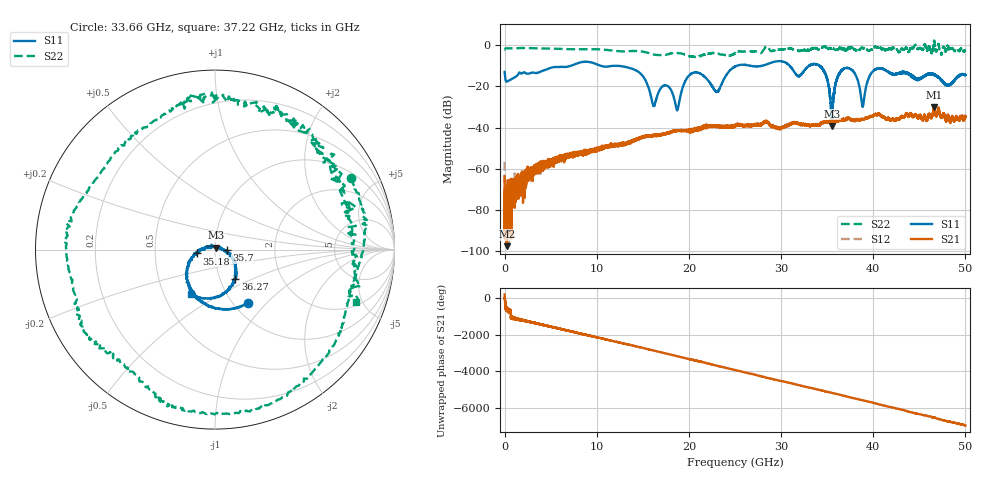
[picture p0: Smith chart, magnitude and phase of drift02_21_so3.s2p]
!Created with skrf (http://scikit-rf.org).
# Hz S RI R 50.0
!freq ReS11 ImS11 ReS21 ImS21 ReS12 ImS12 ReS22 ImS22
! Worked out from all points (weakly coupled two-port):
!   10001 points, 300 kHz to 50 GHz, reference 50 ohm
!   highest |S21| = -30.18 dB at 46.61 GHz (marker M1); lowest = -97.7 dB at 235.3 MHz (marker M2)
!   lowest |S11| = -39.2 dB at 35.51 GHz (marker M3), VSWR 1.02, Z = 50.4 + j1.03 ohm
!   |S11| at or under -10 dB: start of sweep to 7.176 GHz; 12.33 GHz to 25.17 GHz (12.85 GHz wide, 68.5 % of centre); 34.21 GHz to end of sweep (the widest 3 of 18)
!   |S22| runs from -5.7 to 2.4 dB; largest |S21 - S12| = 0.0032
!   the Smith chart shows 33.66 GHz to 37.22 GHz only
!   S11 on the Smith chart (normalised r, x): 33.66 GHz: 1.17, -0.79; 35.18 GHz: 0.82, -0.04; 35.7 GHz: 1.14, -0.01; 36.27 GHz: 1.18, -0.40; 37.22 GHz: 0.68, -0.37
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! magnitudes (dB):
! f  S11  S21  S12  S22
! 300 kHz  -12.9  -63.8  -56.8  -2.1
! 235.3 MHz  -17.6  -97.7  -75.0  -1.4
! 8.335 GHz  -8.2  -52.6  -52.7  -1.9
! 14.03 GHz  -11.7  -46.2  -46.1  -2.8
! 16.14 GHz  -29.3  -44.1  -43.8  -4.5
! 16.67 GHz  -23.2  -43.7  -43.6  -4.7
! 18.74 GHz  -31.5  -41.5  -41.5  -3.7
! 20.23 GHz  -13.9  -40.9  -41.6  -5.5
! 23.04 GHz  -22.6  -39.4  -39.0  -4.1
! 25 GHz  -10.3  -39.1  -38.9  -3.9
! 33.34 GHz  -9.4  -38.5  -38.7  -1.6
! 33.66 GHz  -9.1  -39.0  -38.5  -1.4
! 35.18 GHz  -19.9  -36.9  -37.2  -1.6
! 35.51 GHz  -39.2  -36.8  -36.9  -1.8
! 35.7 GHz  -23.8  -36.8  -36.6  -1.7
! 36.27 GHz  -14.0  -36.2  -36.4  -1.6
! 37.22 GHz  -11.0  -35.1  -35.4  -1.5
! 38.86 GHz  -29.8  -35.8  -36.1  -1.3
! 39.95 GHz  -12.7  -34.4  -34.4  -2.0
! 41.67 GHz  -13.1  -35.5  -35.7  -1.9
! 46.61 GHz  -14.2  -30.2  -30.0  2.4
! 50 GHz  -14.4  -35.1  -35.0  -2.7
